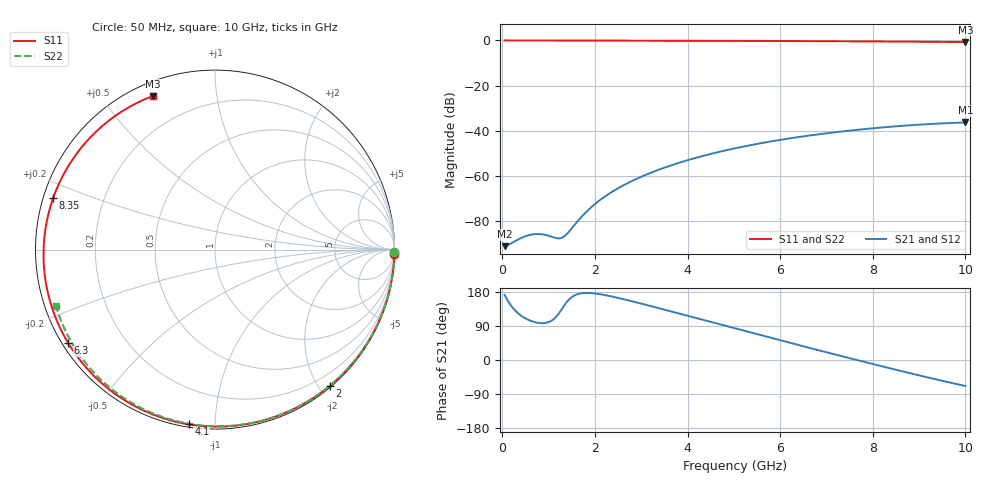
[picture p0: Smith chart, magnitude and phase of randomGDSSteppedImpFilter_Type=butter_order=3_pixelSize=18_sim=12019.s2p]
! freq	dB(S11)	phase(S11)	dB(S12)	phase(S12)
!  dB(S21)	phase(S21)	dB(S22)	phase(S22)
!S-par simulation data
#  GHz  S  DB  R 50
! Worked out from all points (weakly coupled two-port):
!   200 points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, 50 MHz to 10 GHz, reference 50 ohm
!   highest |S21| = -36.27 dB at 10 GHz (marker M1); lowest = -91.0 dB at 50 MHz (marker M2)
!   lowest |S11| = -0.7 dB at 10 GHz (marker M3), VSWR 24.96, Z = 2.92 + j33.7 ohm
!   |S11| at or under -10 dB: nowhere
!   |S22| runs from -0.5 to 0.0 dB; largest |S21 - S12| = 0
!   S11 on the Smith chart (normalised r, x): 50 MHz: 0, -90; 2 GHz: 0.02, -2.15; 4.1 GHz: 0.01, -0.86; 6.3 GHz: 0.02, -0.29; 8.35 GHz: 0.03, +0.15; 10 GHz: 0.06, +0.67
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0.05  -0.00 -1.3  -90.99 171.6  -90.99 171.6  -0.00 -0.9
0.8  -0.02 -20.3  -85.63 97.6  -85.63 97.6  -0.01 -14.6
1.6  -0.05 -40.1  -80.59 172.7  -80.59 172.7  -0.04 -29.0
1.65  -0.05 -41.3  -79.38 174.7  -79.38 174.7  -0.04 -29.9
1.75  -0.06 -43.8  -77.13 176.7  -77.13 176.7  -0.04 -31.7
2  -0.06 -49.9  -72.36 175.6  -72.36 175.6  -0.05 -36.1
2.3  -0.07 -57.1  -67.87 169.3  -67.87 169.3  -0.05 -41.4
2.6  -0.08 -64.2  -64.24 161.0  -64.24 161.0  -0.06 -46.6
2.95  -0.09 -72.4  -60.74 150.3  -60.74 150.3  -0.07 -52.6
3.4  -0.11 -82.8  -57.01 136.1  -57.01 136.1  -0.08 -60.2
4.1  -0.14 -98.6  -52.38 113.5  -52.38 113.5  -0.10 -71.7
5.05  -0.18 -119.7  -47.59 82.6  -47.59 82.6  -0.13 -86.8
5.65  -0.22 -132.9  -45.20 63.2  -45.20 63.2  -0.16 -96.1
6.3  -0.27 -147.5  -43.02 42.5  -43.02 42.5  -0.19 -105.9
6.7  -0.30 -156.6  -41.86 29.8  -41.86 29.8  -0.22 -111.8
7.55  -0.39 -176.9  -39.77 3.3  -39.77 3.3  -0.28 -124.3
7.95  -0.43 173.0  -38.95 -9.0  -38.95 -9.0  -0.31 -130.2
8.35  -0.48 162.4  -38.22 -21.2  -38.22 -21.2  -0.35 -136.0
8.75  -0.53 151.2  -37.59 -33.2  -37.59 -33.2  -0.39 -141.8
9.15  -0.58 139.4  -37.06 -44.9  -37.06 -44.9  -0.43 -147.7
9.55  -0.64 126.9  -36.63 -56.3  -36.63 -56.3  -0.48 -153.7
10  -0.70 111.9  -36.27 -68.7  -36.27 -68.7  -0.54 -160.5
